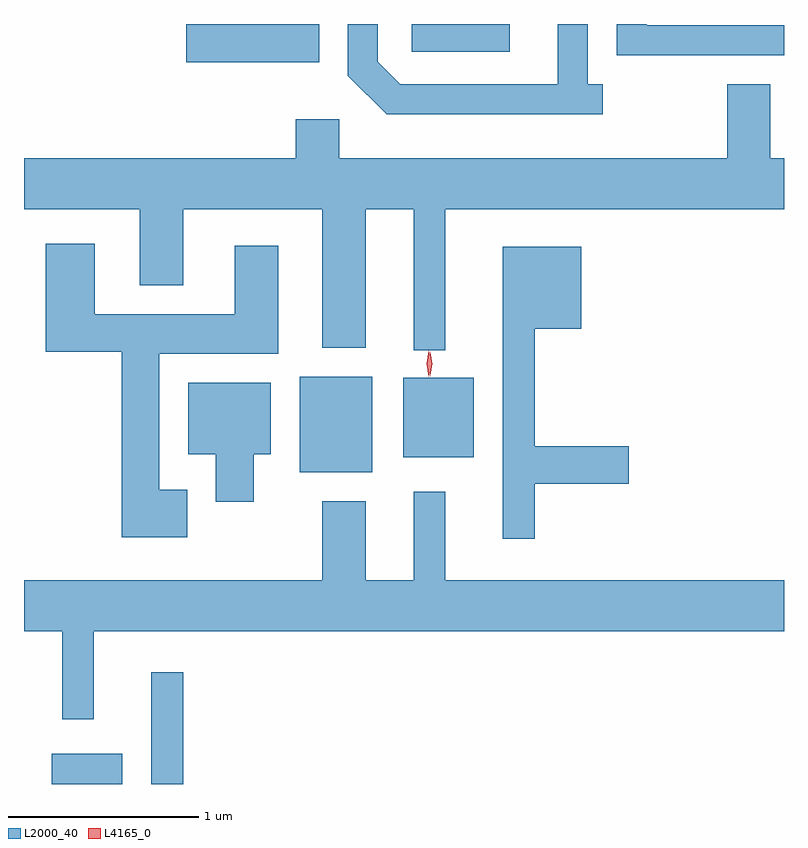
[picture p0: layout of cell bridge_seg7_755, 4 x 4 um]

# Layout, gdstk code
import gdstk
lib = gdstk.Library(unit=1e-6, precision=1e-09)
def R(c, l, rs):  # rectangles x0, y0, x1, y1
    for r in rs: c.add(gdstk.rectangle(r[:2], r[2:], *l))
def P(c, l, *ps):  # polygons
    for p in ps: c.add(gdstk.Polygon(p, *l))
L2000_40 = (2000, 40)
L4165_0 = (4165, 0)

bridge_seg7_755 = lib.new_cell('bridge_seg7_755')
R(bridge_seg7_755, L2000_40, [(259.326,1786.771,259.699,1786.929), (259.851,1786.771,260.019,1787.358), (260.631,1788.411,261.014,1788.914), (261.176,1788.491,261.549,1788.909), (261.221,1790.626,261.738,1790.771)])
P(bridge_seg7_755, L2000_40, [(260.734,1790.771),(260.426,1790.771),(260.426,1790.769),(260.036,1790.769),(260.036,1790.571),(260.734,1790.571)],
  [(262.228,1790.454),(262.149,1790.454),(262.149,1790.771),(261.991,1790.771),(261.991,1790.454),(261.162,1790.454),(261.044,1790.572),(261.044,1790.771),(260.886,1790.771),(260.886,1790.499),(261.089,1790.296),(262.228,1790.296)],
  [(263.181,1790.764),(262.459,1790.764),(262.459,1790.771),(262.301,1790.771),(262.301,1790.606),(263.181,1790.606)],
  [(261.399,1789.796),(263.181,1789.796),(263.181,1790.064),(263.109,1790.064),(263.109,1790.454),(262.881,1790.454),(262.881,1790.064),(260.839,1790.064),(260.839,1790.269),(260.611,1790.269),(260.611,1790.064),(259.181,1790.064),(259.181,1789.796),(259.791,1789.796),(259.791,1789.396),(260.019,1789.396),(260.019,1789.796),(260.751,1789.796),(260.751,1789.066),(260.979,1789.066),(260.979,1789.796),(261.231,1789.796),(261.231,1789.053),(261.399,1789.053)],
  [(260.039,1788.319),(259.894,1788.319),(259.894,1789.036),(260.519,1789.036),(260.519,1789.604),(260.291,1789.604),(260.291,1789.244),(259.554,1789.244),(259.554,1789.614),(259.296,1789.614),(259.296,1789.046),(259.696,1789.046),(259.696,1788.071),(260.039,1788.071)],
  [(261.869,1788.351),(262.364,1788.351),(262.364,1788.549),(261.869,1788.549),(261.869,1789.166),(262.114,1789.166),(262.114,1789.599),(261.701,1789.599),(261.701,1788.063),(261.869,1788.063)],
  [(260.389,1788.506),(260.479,1788.506),(260.479,1788.884),(260.046,1788.884),(260.046,1788.506),(260.191,1788.506),(260.191,1788.256),(260.389,1788.256)],
  [(259.549,1787.576),(263.181,1787.576),(263.181,1787.844),(261.399,1787.844),(261.399,1788.308),(261.231,1788.308),(261.231,1787.844),(260.979,1787.844),(260.979,1788.259),(260.751,1788.259),(260.751,1787.844),(259.181,1787.844),(259.181,1787.576),(259.381,1787.576),(259.381,1787.113),(259.549,1787.113)])
P(bridge_seg7_755, L4165_0, [(261.32,1788.918),(261.319,1788.919),(261.31,1788.983),(261.319,1789.047),(261.319,1789.047),(261.32,1789.047),(261.329,1788.983),(261.32,1788.919)],
  [(261.312,1788.914),(261.312,1788.914),(261.302,1788.982),(261.312,1789.05),(261.312,1789.05),(261.312,1789.05),(261.322,1788.982),(261.312,1788.914)])

lib.write_gds('bridge_seg7_755.gds')
